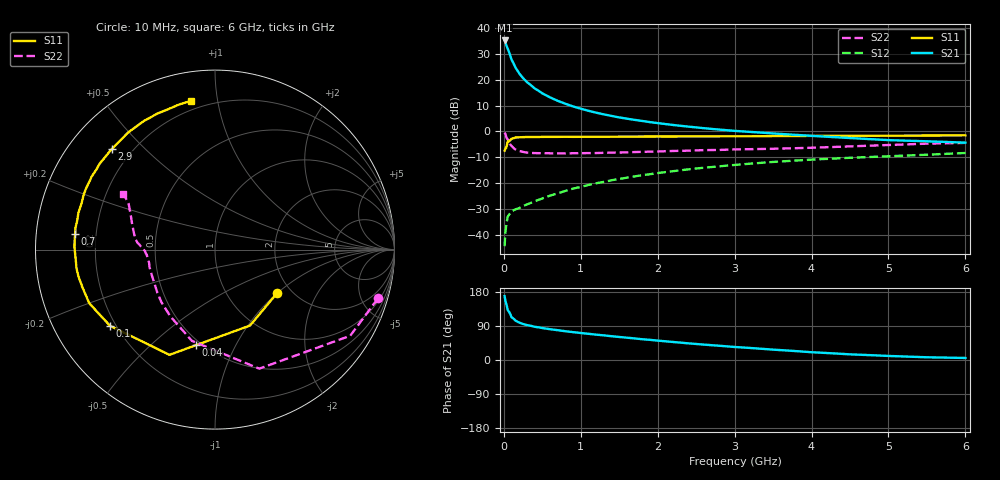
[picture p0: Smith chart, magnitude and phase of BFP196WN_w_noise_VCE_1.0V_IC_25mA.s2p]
! (c) 2017  Infineon Technologies AG, Munich
! Infineon Technologies  Discrete & RF Semiconductors
! BFP196WN
! VCE =  1.0 V,  IC =  25 mA
! Common Emitter S-Parameters:  Jan 2017
# GHz  S  MA  R  50
!  f  S11  S21  S12  S22
! GHz  MAG  ANG  MAG  ANG  MAG  ANG  MAG  ANG
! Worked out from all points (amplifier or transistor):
!   77 points, 10 MHz to 6 GHz, reference 50 ohm
!   highest |S21| = 35.2 dB at 10 MHz (marker M1)
!   |S21| within 3 dB of that: start of sweep to 47.55 MHz
!   unconditionally stable (mu >= 1): 783.3 MHz to 3.191 GHz
!   at 130 MHz: K = 0.39, MSG = 28.3 dB, |S12| = -30.5 dB
!   at 2.2 GHz: K = 1.04, MAG = 7.7 dB, |S12| = -15.4 dB
!   at 6 GHz: K = 0.95, MSG = 2.0 dB, |S12| = -8.4 dB
!   lowest NFmin = 1.00 dB at 450 MHz
!   S11 on the Smith chart (normalised r, x): 10 MHz: 1.69, -0.99; 40 MHz: 0.47, -0.71; 100 MHz: 0.18, -0.31; 700 MHz: 0.12, +0.06; 2.9 GHz: 0.13, +0.40; 6 GHz: 0.15, +0.84
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0.01  0.4223 -34.8  57.66 168.6  0.006 78.2  0.9475 -16.7
0.02  0.4659 -65.2  52.91 156.4  0.0112 71.9  0.8934 -32.5
0.04  0.542 -101.1  43.35 141.6  0.0184 54.0  0.7317 -55.4
0.05  0.6389 -113.4  40.03 131.8  0.0223 49.6  0.7077 -69.6
0.1  0.723 -144.1  24.61 112.9  0.0284 39.5  0.5245 -104.2
0.15  0.7616 -156.9  17.39 104.1  0.031 38.2  0.4477 -123.7
0.2  0.7678 -164.1  13.29 98.7  0.0327 39.2  0.4182 -135.6
0.25  0.7754 -168.8  10.74 95.0  0.0361 41.4  0.4008 -143.3
0.3  0.7785 -172.3  9.007 92.2  0.0384 44.7  0.3886 -149.4
0.4  0.7788 -177.3  6.808 87.7  0.0442 48.5  0.3805 -156.8
0.5  0.7832 179.1  5.458 84.3  0.0504 52.5  0.3784 -161.9
0.6  0.7839 176.0  4.562 81.3  0.057 54.8  0.3773 -165.7
0.7  0.784 173.6  3.91 78.7  0.0631 57.0  0.3744 -168.3
0.9  0.7845 168.8  3.045 73.5  0.0782 59.6  0.3778 -171.9
1.1  0.7883 164.9  2.507 69.1  0.0919 60.9  0.3803 -174.7
1.5  0.7923 157.9  1.866 60.8  0.1201 61.0  0.3901 -178.8
2.1  0.7976 148.0  1.389 49.4  0.1629 58.4  0.4133 177.5
2.9  0.8022 135.6  1.054 36.0  0.2176 53.0  0.4428 173.2
3.1  0.8038 132.6  1.002 33.1  0.2306 51.3  0.4506 171.6
4.1  0.8187 118.0  0.805 19.5  0.289 43.0  0.4882 161.7
5.1  0.8266 107.0  0.671 10.0  0.335 35.6  0.552 151.5
6  0.8393 99.2  0.606 5.3  0.3823 29.6  0.5997 148.7
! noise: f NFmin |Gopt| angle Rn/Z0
0.45  1  0.43  174  0.05
0.9  1.15  0.51  182  0.05
1.9  2.08  0.68  210  0.13
2.4  2.83  0.69  217  0.23
